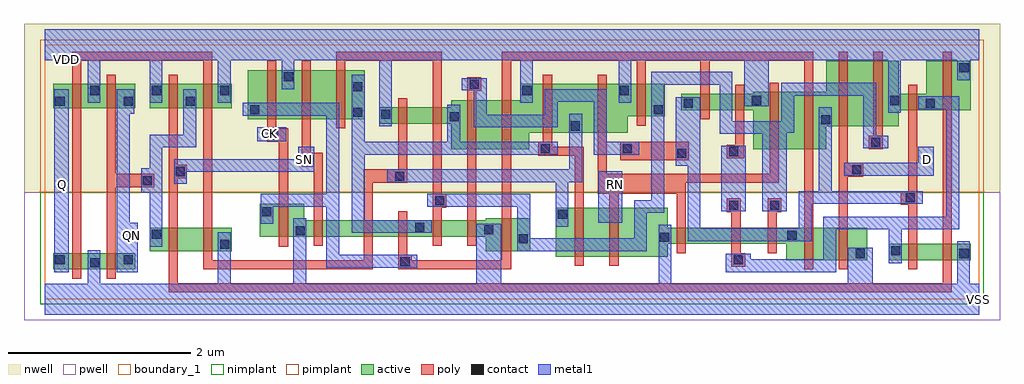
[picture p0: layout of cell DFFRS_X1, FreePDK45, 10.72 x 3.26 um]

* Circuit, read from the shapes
.subckt DFFRS_X1 CK D Q QN RN SN VDD VSS
M1 VSS n1 Q VSUBS nfet w=0.18u l=0.1u
M2 QN n2 VSS VSUBS nfet w=0.18u l=0.1u
M3 n3 SN n2 VSUBS nfet w=0.26u l=0.1u
M4 VSS n1 n3 VSUBS nfet w=0.26u l=0.1u
M5 VSS CK n4 VSUBS nfet w=0.36u l=0.1u
M6 n5 SN VSS VSUBS nfet w=0.18u l=0.1u
M7 n6 n1 n5 VSUBS nfet w=0.18u l=0.1u
M8 n7 n4 n6 VSUBS nfet w=0.18u l=0.1u
M9 n8 n9 n7 VSUBS nfet w=0.18u l=0.1u
M10 VSS n10 n8 VSUBS nfet w=0.18u l=0.1u
M11 n9 n4 VSS VSUBS nfet w=0.36u l=0.1u
M12 n11 n7 n1 VSUBS nfet w=0.54u l=0.1u
M13 VSS RN n11 VSUBS nfet w=0.54u l=0.1u
M14 n12 RN VSS VSUBS nfet w=0.18u l=0.1u
M15 n13 n14 n12 VSUBS nfet w=0.18u l=0.1u
M16 n10 n9 n13 VSUBS nfet w=0.18u l=0.1u
M17 n15 n4 n10 VSUBS nfet w=0.36u l=0.1u
M18 VSS D n15 VSUBS nfet w=0.36u l=0.1u
M19 n16 n10 n14 VSUBS nfet w=0.18u l=0.1u
M20 VSS SN n16 VSUBS nfet w=0.18u l=0.1u
M21 VDD n1 Q n17 pfet w=0.27u l=0.1u
M22 QN n2 VDD n17 pfet w=0.27u l=0.1u
M23 n2 SN VDD n17 pfet w=0.27u l=0.1u
M24 VDD n1 n2 n17 pfet w=0.27u l=0.1u
M25 VDD CK n4 n17 pfet w=0.54u l=0.1u
M26 n18 SN VDD n17 pfet w=0.54u l=0.1u
M27 n7 n9 n18 n17 pfet w=0.54u l=0.1u
M28 n19 n1 VDD n17 pfet w=0.18u l=0.1u
M29 n7 n9 n19 n17 pfet w=0.18u l=0.1u
M30 n20 n10 n7 n17 pfet w=0.54u l=0.1u
M31 VDD n4 n20 n17 pfet w=0.54u l=0.1u
M32 n1 n7 VDD n17 pfet w=0.54u l=0.1u
M33 VDD RN n1 n17 pfet w=0.54u l=0.1u
M34 n9 n4 VDD n17 pfet w=0.36u l=0.1u
M35 n21 n4 n10 n17 pfet w=0.18u l=0.1u
M36 VDD n14 n21 n17 pfet w=0.18u l=0.1u
M37 n22 RN VDD n17 pfet w=0.63u l=0.1u
M38 n10 n4 n22 n17 pfet w=0.63u l=0.1u
M39 n23 D n10 n17 pfet w=0.72u l=0.1u
M40 VDD n9 n23 n17 pfet w=0.72u l=0.1u
M41 n14 n10 VDD n17 pfet w=0.18u l=0.1u
M42 VDD SN n14 n17 pfet w=0.54u l=0.1u
.ends

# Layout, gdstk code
import gdstk
lib = gdstk.Library(unit=1e-6, precision=1e-09)
def R(c, l, rs):  # rectangles x0, y0, x1, y1
    for r in rs: c.add(gdstk.rectangle(r[:2], r[2:], *l))
def P(c, l, *ps):  # polygons
    for p in ps: c.add(gdstk.Polygon(p, *l))
active = (1, 0)
pwell = (2, 0)
nwell = (3, 0)
nimplant = (4, 0)
pimplant = (5, 0)
poly = (9, 0)
contact = (10, 0)
metal1 = (11, 0)
boundary_1 = (235, 1)

dffrs_x1 = lib.new_cell('DFFRS_X1')
R(dffrs_x1, active, [(0.09,0.33,0.99,0.51), (9.27,0.43,10.17,0.61), (1.15,0.53,2.05,0.79), (2.23,1.98,3.51,2.52), (0.09,2.1,0.99,2.37), (1.15,2.1,2.05,2.37)])
P(dffrs_x1, active, [(6.99,2.08),(7.78,2.08),(7.78,1.65),(8.58,1.65),(8.58,1.9),(9.38,1.9),(9.38,2.08),(10.17,2.08),(10.17,2.62),(9.68,2.62),(9.68,2.26),(9.38,2.26),(9.38,2.62),(8.58,2.62),(8.58,2.28),(7.78,2.28),(7.78,2.26),(6.99,2.26)],
  [(5.61,0.47),(6.84,0.47),(6.84,0.61),(8.14,0.61),(8.14,0.43),(9.03,0.43),(9.03,0.79),(6.84,0.79),(6.84,1.01),(5.61,1.01)],
  [(3.67,1.93),(4.46,1.93),(4.46,1.65),(5.32,1.65),(5.32,1.83),(6.4,1.83),(6.4,2.01),(6.81,2.01),(6.81,2.37),(5.22,2.37),(5.22,2.19),(4.46,2.19),(4.46,2.11),(3.67,2.11)],
  [(2.36,0.69),(4.84,0.69),(4.84,0.53),(5.33,0.53),(5.33,0.89),(4.84,0.89),(4.84,0.87),(2.85,0.87),(2.85,1.05),(2.36,1.05)])
R(dffrs_x1, pwell, [(-0.23,-0.23,10.49,1.18)])
R(dffrs_x1, nwell, [(-0.23,1.18,10.49,3.03)])
R(dffrs_x1, nimplant, [(-0.05,-0.05,10.31,1.18)])
R(dffrs_x1, pimplant, [(-0.05,1.18,10.31,2.85)])
R(dffrs_x1, poly, [(6.32,1.53,7.07,1.73)])
P(dffrs_x1, poly, [(1.36,0.08),(9.96,0.08),(9.96,2.72),(9.86,2.72),(9.86,0.18),(1.46,0.18),(1.46,1.33),(1.56,1.33),(1.56,1.48),(1.46,1.48),(1.46,2.47),(1.36,2.47)],
  [(9.4,1.04),(9.48,1.04),(9.48,0.33),(9.58,0.33),(9.58,2.36),(9.48,2.36),(9.48,1.19),(9.4,1.19)],
  [(9.05,1.65),(9.2,1.65),(9.2,2.72),(9.1,2.72),(9.1,1.8),(9.05,1.8)],
  [(8.72,0.33),(8.82,0.33),(8.82,1.35),(8.99,1.35),(8.99,1.5),(8.82,1.5),(8.82,2.72),(8.72,2.72)],
  [(3.88,0.33),(5.12,0.33),(5.12,2.62),(6.5,2.62),(6.5,1.91),(6.6,1.91),(6.6,2.62),(7.2,2.62),(7.2,1.98),(7.3,1.98),(7.3,2.62),(8.34,2.62),(8.34,0.33),(8.44,0.33),(8.44,2.72),(5.02,2.72),(5.02,0.43),(4.03,0.43),(4.03,0.49),(3.98,0.49),(3.98,0.97),(3.88,0.97)],
  [(7.94,0.51),(8.04,0.51),(8.04,0.96),(8.09,0.96),(8.09,1.11),(7.94,1.11)],
  [(6.07,1.16),(6.2,1.16),(6.2,0.37),(6.3,0.37),(6.3,1.16),(6.94,1.16),(6.94,0.51),(7.04,0.51),(7.04,1.28),(8.06,1.28),(8.06,2.38),(7.96,2.38),(7.96,1.38),(6.17,1.38),(6.17,2.47),(6.07,2.47)],
  [(7.49,0.96),(7.54,0.96),(7.54,0.36),(7.69,0.36),(7.69,0.51),(7.64,0.51),(7.64,1.11),(7.49,1.11)],
  [(7.49,1.55),(7.68,1.55),(7.68,2.36),(7.58,2.36),(7.58,1.7),(7.49,1.7)],
  [(5.42,1.58),(5.82,1.58),(5.82,0.37),(5.92,0.37),(5.92,1.68),(5.57,1.68),(5.57,2.47),(5.47,2.47),(5.47,1.73),(5.42,1.73)],
  [(4.64,0.59),(4.74,0.59),(4.74,2.29),(4.79,2.29),(4.79,2.44),(4.64,2.44)],
  [(3.2,1.88),(3.3,1.88),(3.3,2.62),(4.26,2.62),(4.26,0.59),(4.36,0.59),(4.36,1.01),(4.41,1.01),(4.41,1.16),(4.36,1.16),(4.36,2.72),(3.2,2.72)],
  [(0.3,0.23),(0.4,0.23),(0.4,2.62),(1.74,2.62),(1.74,0.33),(3.6,0.33),(3.6,1.28),(3.98,1.28),(3.98,2.21),(3.88,2.21),(3.88,1.43),(3.5,1.43),(3.5,0.43),(1.84,0.43),(1.84,2.72),(0.3,2.72)],
  [(2.82,1.46),(2.95,1.46),(2.95,0.59),(3.05,0.59),(3.05,1.61),(2.92,1.61),(2.92,2.62),(2.82,2.62)],
  [(2.44,1.73),(2.57,1.73),(2.57,0.58),(2.67,0.58),(2.67,1.88),(2.54,1.88),(2.54,2.62),(2.44,2.62)],
  [(0.68,0.23),(0.78,0.23),(0.78,1.23),(1.2,1.23),(1.2,1.38),(0.78,1.38),(0.78,2.47),(0.68,2.47)])
R(dffrs_x1, contact, [(0.495,0.355,0.595,0.455), (3.905,0.365,4.005,0.465), (0.115,0.385,0.215,0.485), (0.865,0.385,0.965,0.485), (7.565,0.385,7.665,0.485), (8.905,0.455,9.005,0.555), (10.045,0.455,10.145,0.555), (9.295,0.485,9.395,0.585), (1.925,0.555,2.025,0.655), (5.205,0.615,5.305,0.715), (6.755,0.635,6.855,0.735), (8.155,0.655,8.255,0.755), (1.175,0.665,1.275,0.765), (2.755,0.705,2.855,0.805), (4.825,0.715,4.925,0.815), (4.065,0.745,4.165,0.845), (5.635,0.885,5.735,0.985), (2.385,0.915,2.485,1.015), (7.515,0.985,7.615,1.085), (7.965,0.985,8.065,1.085), (4.285,1.035,4.385,1.135), (9.455,1.065,9.555,1.165), (6.165,1.225,6.265,1.325), (1.075,1.255,1.175,1.355), (3.845,1.305,3.945,1.405), (1.435,1.355,1.535,1.455), (8.865,1.375,8.965,1.475), (2.845,1.485,2.945,1.585), (6.945,1.555,7.045,1.655), (7.515,1.575,7.615,1.675), (5.445,1.605,5.545,1.705), (6.345,1.605,6.445,1.705), (9.075,1.675,9.175,1.775), (2.465,1.755,2.565,1.855), (5.775,1.855,5.875,1.955), (8.525,1.925,8.625,2.025), (4.445,1.955,4.545,2.055), (3.695,1.985,3.795,2.085), (3.385,2.005,3.485,2.105), (2.255,2.035,2.355,2.135), (6.685,2.035,6.785,2.135), (7.015,2.105,7.115,2.205), (9.675,2.105,9.775,2.205), (0.115,2.125,0.215,2.225), (0.865,2.125,0.965,2.225), (1.545,2.125,1.645,2.225), (7.765,2.135,7.865,2.235), (9.285,2.135,9.385,2.235), (0.495,2.245,0.595,2.345), (1.175,2.245,1.275,2.345), (1.925,2.245,2.025,2.345), (5.245,2.245,5.345,2.345), (6.315,2.245,6.415,2.345), (3.385,2.285,3.485,2.385), (4.665,2.315,4.765,2.415), (2.625,2.395,2.725,2.495), (10.045,2.495,10.145,2.595)])
R(dffrs_x1, metal1, [(0.1,0.3,0.26,2.31), (0.1,0.3,0.26,2.31), (6.08,0.84,6.34,1.41), (6.08,0.84,6.34,1.41), (7.43,0.97,7.7,1.69), (2.33,1.74,2.65,1.89), (2.33,1.74,2.65,1.89)])
P(dffrs_x1, metal1, [(8.78,1.36),(9.76,1.36),(9.76,1.68),(9.59,1.68),(9.59,1.5),(8.78,1.5)],
  [(0,-0.17),(10.26,-0.17),(10.26,0.17),(10.16,0.17),(10.16,0.64),(10.02,0.64),(10.02,0.17),(9.09,0.17),(9.09,0.57),(8.82,0.57),(8.82,0.17),(6.88,0.17),(6.88,0.82),(6.74,0.82),(6.74,0.17),(5.01,0.17),(5.01,0.83),(4.74,0.83),(4.74,0.17),(2.87,0.17),(2.87,0.89),(2.73,0.89),(2.73,0.17),(2.04,0.17),(2.04,0.74),(1.9,0.74),(1.9,0.17),(0.61,0.17),(0.61,0.54),(0.47,0.54),(0.47,0.17),(0,0.17)],
  [(0,2.63),(0.47,2.63),(0.47,2.16),(0.61,2.16),(0.61,2.63),(1.15,2.63),(1.15,2.16),(1.29,2.16),(1.29,2.63),(1.9,2.63),(1.9,2.16),(2.04,2.16),(2.04,2.63),(2.6,2.63),(2.6,2.31),(2.74,2.31),(2.74,2.63),(3.67,2.63),(3.67,1.9),(3.81,1.9),(3.81,2.63),(5.22,2.63),(5.22,2.16),(5.36,2.16),(5.36,2.63),(6.3,2.63),(6.3,2.16),(6.44,2.16),(6.44,2.63),(7.68,2.63),(7.68,2.12),(7.95,2.12),(7.95,2.63),(9.26,2.63),(9.26,2.05),(9.4,2.05),(9.4,2.63),(10.02,2.63),(10.02,2.41),(10.16,2.41),(10.16,2.63),(10.26,2.63),(10.26,2.97),(0,2.97)],
  [(1.42,1.27),(1.56,1.27),(1.56,1.4),(2.96,1.4),(2.96,1.68),(2.78,1.68),(2.78,1.54),(1.42,1.54)],
  [(0.79,0.3),(1.02,0.3),(1.02,0.84),(0.93,0.84),(0.93,2.04),(0.98,2.04),(0.98,2.31),(0.79,2.31)],
  [(0,2.63),(0.47,2.63),(0.47,2.16),(0.61,2.16),(0.61,2.63),(1.15,2.63),(1.15,2.16),(1.29,2.16),(1.29,2.63),(1.9,2.63),(1.9,2.16),(2.04,2.16),(2.04,2.63),(2.6,2.63),(2.6,2.31),(2.74,2.31),(2.74,2.63),(3.67,2.63),(3.67,1.9),(3.81,1.9),(3.81,2.63),(5.22,2.63),(5.22,2.16),(5.36,2.16),(5.36,2.63),(6.3,2.63),(6.3,2.16),(6.44,2.16),(6.44,2.63),(7.68,2.63),(7.68,2.12),(7.95,2.12),(7.95,2.63),(9.26,2.63),(9.26,2.05),(9.4,2.05),(9.4,2.63),(10.02,2.63),(10.02,2.41),(10.16,2.41),(10.16,2.63),(10.26,2.63),(10.26,2.97),(0,2.97)],
  [(0,-0.17),(10.26,-0.17),(10.26,0.17),(10.16,0.17),(10.16,0.64),(10.02,0.64),(10.02,0.17),(9.09,0.17),(9.09,0.57),(8.82,0.57),(8.82,0.17),(6.88,0.17),(6.88,0.82),(6.74,0.82),(6.74,0.17),(5.01,0.17),(5.01,0.83),(4.74,0.83),(4.74,0.17),(2.87,0.17),(2.87,0.89),(2.73,0.89),(2.73,0.17),(2.04,0.17),(2.04,0.74),(1.9,0.74),(1.9,0.17),(0.61,0.17),(0.61,0.54),(0.47,0.54),(0.47,0.17),(0,0.17)],
  [(9.59,2.09),(9.9,2.09),(9.9,0.91),(8.55,0.91),(8.55,0.44),(7.75,0.44),(7.75,0.5),(7.48,0.5),(7.48,0.3),(8.69,0.3),(8.69,0.77),(9.27,0.77),(9.27,0.4),(9.41,0.4),(9.41,0.77),(10.04,0.77),(10.04,2.23),(9.59,2.23)],
  [(8.78,1.36),(9.76,1.36),(9.76,1.68),(9.59,1.68),(9.59,1.5),(8.78,1.5)],
  [(6.93,1.47),(7.06,1.47),(7.06,0.64),(8.42,0.64),(8.42,1.05),(9.64,1.05),(9.64,1.19),(8.64,1.19),(8.64,2.11),(8.5,2.11),(8.5,1.19),(8.28,1.19),(8.28,0.78),(7.2,0.78),(7.2,2.22),(6.93,2.22)],
  [(4.2,1.02),(5.19,1.02),(5.19,0.53),(6.61,0.53),(6.61,0.95),(6.8,0.95),(6.8,2.36),(7.41,2.36),(7.41,1.82),(7.88,1.82),(7.88,0.97),(8.15,0.97),(8.15,1.83),(8.23,1.83),(8.23,2.24),(8.99,2.24),(8.99,1.66),(9.26,1.66),(9.26,1.8),(9.13,1.8),(9.13,2.38),(8.09,2.38),(8.09,1.96),(7.55,1.96),(7.55,2.5),(6.66,2.5),(6.66,1.09),(6.47,1.09),(6.47,0.67),(5.33,0.67),(5.33,1.16),(4.2,1.16)],
  [(4.58,2.3),(4.71,2.3),(4.71,1.89),(5.63,1.89),(5.63,2.17),(6.03,2.17),(6.03,1.59),(6.53,1.59),(6.53,1.73),(6.17,1.73),(6.17,2.31),(5.49,2.31),(5.49,2.03),(4.85,2.03),(4.85,2.43),(4.58,2.43)],
  [(3.76,1.29),(5.61,1.29),(5.61,0.8),(5.75,0.8),(5.75,1.29),(5.9,1.29),(5.9,2.04),(5.76,2.04),(5.76,1.43),(3.76,1.43)],
  [(3.51,1.59),(5.63,1.59),(5.63,1.73),(4.56,1.73),(4.56,2.14),(4.42,2.14),(4.42,1.73),(3.51,1.73),(3.51,2.47),(3.37,2.47),(3.37,0.73),(4.25,0.73),(4.25,0.87),(3.51,0.87)],
  [(2.17,2.02),(3.09,2.02),(3.09,1.16),(2.37,1.16),(2.37,0.83),(2.51,0.83),(2.51,1.02),(3.09,1.02),(3.09,0.35),(4.09,0.35),(4.09,0.49),(3.23,0.49),(3.23,2.16),(2.17,2.16)],
  [(1.42,1.27),(1.56,1.27),(1.56,1.4),(2.96,1.4),(2.96,1.68),(2.78,1.68),(2.78,1.54),(1.42,1.54)],
  [(1.06,1.17),(1.15,1.17),(1.15,0.58),(1.29,0.58),(1.29,1.67),(1.66,1.67),(1.66,2.31),(1.52,2.31),(1.52,1.81),(1.15,1.81),(1.15,1.44),(1.06,1.44)],
  [(0.79,0.3),(1.02,0.3),(1.02,0.84),(0.93,0.84),(0.93,2.04),(0.98,2.04),(0.98,2.31),(0.79,2.31)])
R(dffrs_x1, boundary_1, [(0,0,10.26,2.8)])
dffrs_x1.add(gdstk.Label('VSS', (10.25,0), layer=11, texttype=0))
dffrs_x1.add(gdstk.Label('VDD', (0.235,2.64), layer=11, texttype=0))
dffrs_x1.add(gdstk.Label('SN', (2.85,1.54), layer=11, texttype=0))
dffrs_x1.add(gdstk.Label('RN', (6.27,1.26), layer=11, texttype=0))
dffrs_x1.add(gdstk.Label('QN', (0.95,0.7), layer=11, texttype=0))
dffrs_x1.add(gdstk.Label('Q', (0.19,1.26), layer=11, texttype=0))
dffrs_x1.add(gdstk.Label('D', (9.69,1.54), layer=11, texttype=0))
dffrs_x1.add(gdstk.Label('CK', (2.47,1.82), layer=11, texttype=0))

lib.write_gds('DFFRS_X1.gds')
